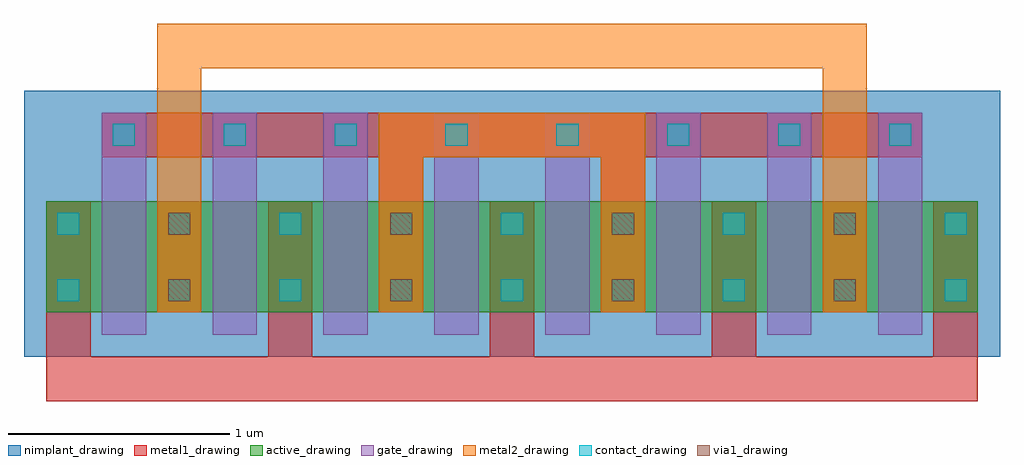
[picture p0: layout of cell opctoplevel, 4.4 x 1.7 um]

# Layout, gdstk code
import gdstk
lib = gdstk.Library(unit=1e-6, precision=1e-09)
def R(c, l, rs):  # rectangles x0, y0, x1, y1
    for r in rs: c.add(gdstk.rectangle(r[:2], r[2:], *l))
def A(c, l, x, y, w, h, nx, ny, dx, dy):  # array of equal rectangles
    R(c, l, [(x+i*dx, y+j*dy, x+i*dx+w, y+j*dy+h) for i in range(nx) for j in range(ny)])
active_drawing = (1, 0)
nimplant_drawing = (5, 0)
gate_drawing = (6, 0)
contact_drawing = (7, 0)
metal1_drawing = (8, 0)
via1_drawing = (9, 0)
metal2_drawing = (10, 0)

opctoplevel = lib.new_cell('opctoplevel')
R(opctoplevel, active_drawing, [(-1.25,0,-0.05,0.5), (-0.25,0,1.95,0.5), (1.75,0,2.95,0.5)])
R(opctoplevel, nimplant_drawing, [(-1.35,-0.2,0.05,1), (-0.35,-0.2,2.05,1), (1.65,-0.2,3.05,1)])
A(opctoplevel, gate_drawing, -1, -0.1, 0.2, 1, 8, 1, 0.5, 0)
A(opctoplevel, contact_drawing, -1.2, 0.05, 0.1, 0.1, 3, 2, 0.5, 0.3)
A(opctoplevel, contact_drawing, -0.2, 0.05, 0.1, 0.1, 5, 2, 0.5, 0.3)
A(opctoplevel, contact_drawing, 1.8, 0.05, 0.1, 0.1, 3, 2, 0.5, 0.3)
A(opctoplevel, contact_drawing, -0.95, 0.75, 0.1, 0.1, 8, 1, 0.5, 0)
A(opctoplevel, metal1_drawing, -0.25, -0.2, 0.2, 0.2, 3, 1, 1, 0)
A(opctoplevel, metal1_drawing, -1.25, 0, 0.2, 0.5, 3, 1, 0.5, 0)
A(opctoplevel, metal1_drawing, -0.25, 0, 0.2, 0.5, 5, 1, 0.5, 0)
A(opctoplevel, metal1_drawing, 1.75, 0, 0.2, 0.5, 3, 1, 0.5, 0)
R(opctoplevel, metal1_drawing, [(-1.25,-0.4,-0.05,-0.2), (-0.25,-0.4,1.95,-0.2), (1.75,-0.4,2.95,-0.2), (-1.25,-0.2,-1.05,0), (-0.25,-0.2,-0.05,0), (1.75,-0.2,1.95,0), (2.75,-0.2,2.95,0), (0.25,0.5,0.45,0.7), (1.25,0.5,1.45,0.7), (-1,0.7,-0.3,0.9), (-0.3,0.7,2,0.9), (0,0.7,1.7,0.9), (2,0.7,2.7,0.9)])
A(opctoplevel, via1_drawing, -0.7, 0.05, 0.1, 0.1, 4, 2, 1, 0.3)
A(opctoplevel, metal2_drawing, -0.75, 0, 0.2, 0.5, 4, 1, 1, 0)
R(opctoplevel, metal2_drawing, [(-0.75,0.5,-0.55,1.1), (0.25,0.5,0.45,0.7), (1.25,0.5,1.45,0.7), (2.25,0.5,2.45,1.1), (0.25,0.7,1.45,0.9), (-0.75,1.1,-0.55,1.3), (-0.55,1.1,2.25,1.3), (2.25,1.1,2.45,1.3)])

lib.write_gds('opctoplevel.gds')
